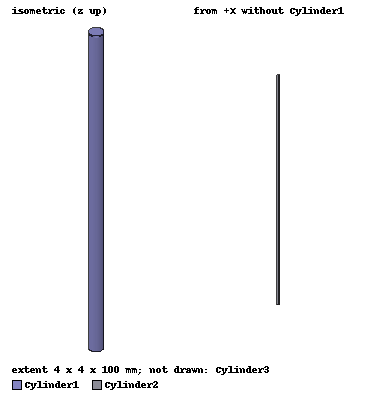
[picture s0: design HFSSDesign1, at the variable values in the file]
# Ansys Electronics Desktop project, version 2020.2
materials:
  vacuum: permittivity=1
  ferrite_project: permittivity=12.1 permeability=55 saturation_mag=1780gauss lande_g_factor=2 delta_H=300
  Rogers RO3210 (tm): permittivity=10.2 dielectric_loss_tangent=0.003
  air: permittivity=1.0006 permeability=1.0000004
  ferrite1: permittivity=12 permeability=1000 conductivity=0.01 saturation_mag=0.35u
  graphite: conductivity=70000

design HFSSDesign1 (HFSS, DrivenModal, model units mm)
options: Calculate_Lossy_Dielectrics
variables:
  d = 2mm
  H = 100mm
  L = 70mm
  d1 = 0.6mm
  Hi = 50000
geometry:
  Cylinder1 [Rogers RO3210 (tm)] = cylinder(axis=Z, base_centre=(0mm, 0, -H/2), radius=d, height=H)
  Cylinder2 [ferrite_project] = cylinder(axis=Z, base_centre=(0mm, 0mm, -L/2), radius=d1, height=L)
  Cylinder2_1 = Cylinder2.copy()
  Cylinder1.subtract(Cylinder2_1)
  Cylinder3 [vacuum] = cylinder(axis=Z, base_centre=(0mm, 0, -H/2), radius=d, height=H)
  Cylinder4 = cylinder(axis=Z, base_centre=(0mm, 0mm, -L/2), radius=d1, height=L)
  Cylinder2_2 = Cylinder4.copy()
  Cylinder3.subtract(Cylinder2_2)
  Cylinder4.delete()
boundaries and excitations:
  MagBias1: Magnetic Bias Objects=Cylinder2 IsUniformBias Bias=Hi XAngle=0deg YAngle=0deg ZAngle=0deg PathRelativeTo=TargetProject MKSBias=Hi
  PerfE1: Perfect E Faces=Cylinder1.face(1 of 3)
  1: Wave Port Faces=Cylinder1.face(2 of 3) NumModes=2 UseLineModeAlignment Modes{Mode1{IntLine{Cylinder1.edge(1 of 2) at 0.25 along -> Cylinder1.edge(1 of 2) at -0.25 along} CharImp=Zpi} Mode2{IntLine{middle of Cylinder1.edge(1 of 2) -> Cylinder1.vertex(1 of 2)} CharImp=Zpi}}
  2: Wave Port Faces=Cylinder1.face(3 of 3) NumModes=2 UseLineModeAlignment Modes{Mode1{IntLine{Cylinder1.edge(2 of 2) at -0.25 along -> Cylinder1.edge(2 of 2) at 0.25 along} CharImp=Zpi} Mode2{IntLine{middle of Cylinder1.edge(2 of 2) -> Cylinder1.vertex(2 of 2)} CharImp=Zpi}}
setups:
  Setup1: HfssDriven Frequency=14.5GHz MaxDeltaS=0.02 MaximumPasses=1 MinimumPasses=1 MinimumConvergedPasses=1 PercentRefinement=30 BasisOrder=1 PortAccuracy=2
    sweep Sweep: 14.2GHz to 14.8GHz, 7 points; Type=Discrete
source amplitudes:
  1:1: 1W 0deg
  1:2: 1W 90deg
  2:1, 2:2: 0W 0deg
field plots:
  Mag_E1: E Field in Cylinder2 on Setup1 : LastAdaptive at Freq=14.5GHz Phase=5deg
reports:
  S Parameter Plot 1: dB(S(1,1)), dB(S(2,1)) vs Freq on Setup1 : Sweep
  S Parameter Plot 2: ang_deg(S(1:1,2:1)) vs Freq on Setup1 : Sweep [Hi=all]
